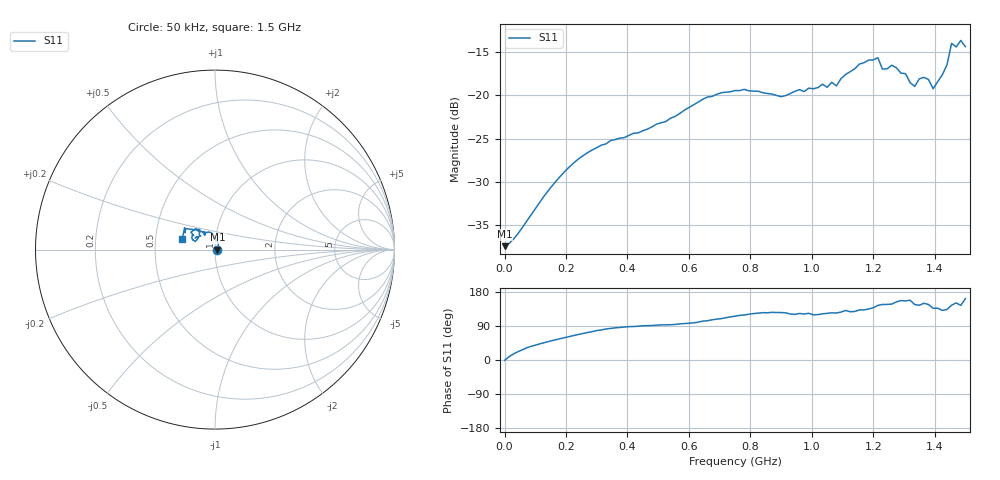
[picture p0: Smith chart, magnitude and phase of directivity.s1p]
! Created with skrf 1.8.0 (http://scikit-rf.org).
# Hz S RI R 50.0
!freq ReS11 ImS11
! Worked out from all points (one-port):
!   101 points, 50 kHz to 1.5 GHz, reference 50 ohm
!   lowest |S11| = -37.5 dB at 50 kHz (marker M1), VSWR 1.03, Z = 51.4 - j0.0218 ohm
!   |S11| at or under -10 dB: start of sweep to end of sweep
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50000  0.0133 -0.000213
3.0049e7  0.0141 0.00417
1.950435e8  0.0186 0.0309
2.70041e8  0.014 0.0444
3.750375e8  0.00411 0.0564
5.70031e8  -0.00713 0.0783
6.60028e8  -0.023 0.0952
7.50025e8  -0.0461 0.0963
9.0002e8  -0.0568 0.0803
9.450185e8  -0.0535 0.0912
1.035016e9  -0.0613 0.0988
1.050015e9  -0.0608 0.0934
1.065014e9  -0.0676 0.0983
1.080014e9  -0.0635 0.0941
1.125012e9  -0.0834 0.1093
1.21501e9  -0.1342 0.0971
1.230009e9  -0.1187 0.0785
1.260008e9  -0.1264 0.0804
1.305006e9  -0.1223 0.0547
1.320006e9  -0.1099 0.045
1.335006e9  -0.0939 0.0625
1.365004e9  -0.1099 0.0643
1.395004e9  -0.0791 0.0755
1.440002e9  -0.1032 0.1094
1.455002e9  -0.1633 0.1167
1.470001e9  -0.1666 0.0939
1.485e9  -0.1692 0.122
1.5e9  -0.1826 0.0594
